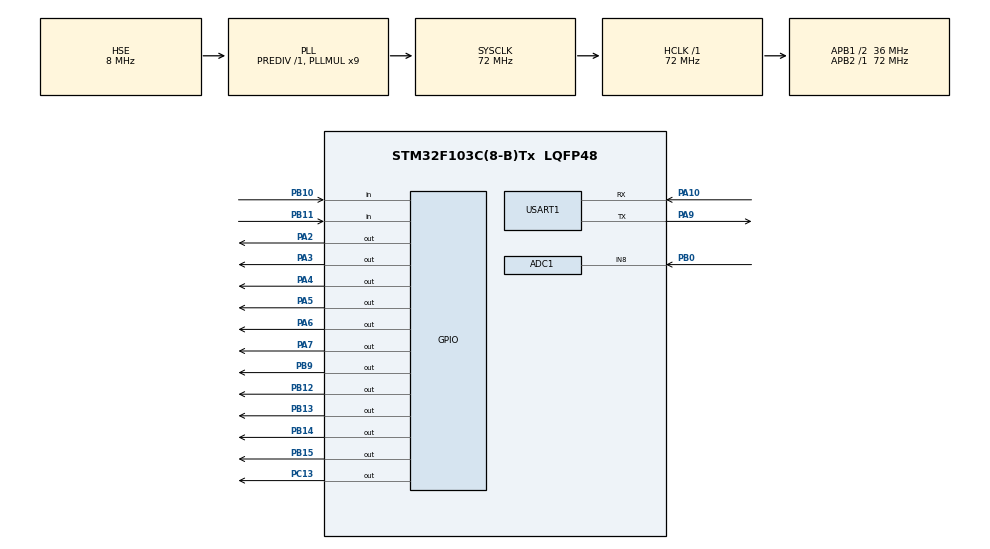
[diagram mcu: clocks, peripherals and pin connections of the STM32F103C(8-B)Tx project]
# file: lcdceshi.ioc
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ADC1.Channel-0\#ChannelRegularConversion=ADC_CHANNEL_8
ADC1.ContinuousConvMode=ENABLE
ADC1.NbrOfConversionFlag=1
ADC1.Rank-0\#ChannelRegularConversion=1
ADC1.SamplingTime-0\#ChannelRegularConversion=ADC_SAMPLETIME_1CYCLE_5
ADC1.master=1
Mcu.Family=STM32F1
Mcu.Name=STM32F103C(8-B)Tx
Mcu.Package=LQFP48
NVIC.PriorityGroup=NVIC_PRIORITYGROUP_4
NVIC.TIM2_IRQn=true\:0\:0\:false\:false\:true\:true\:true\:true
NVIC.USART1_IRQn=true\:0\:0\:false\:false\:true\:true\:true\:true
PA10.Mode=Asynchronous
PA10.Signal=USART1_RX
PA13.Mode=Serial_Wire
PA13.Signal=SYS_JTMS-SWDIO
PA14.Mode=Serial_Wire
PA14.Signal=SYS_JTCK-SWCLK
PA2.Signal=GPIO_Output
PA3.Signal=GPIO_Output
PA4.Signal=GPIO_Output
PA5.Signal=GPIO_Output
PA6.Signal=GPIO_Output
PA7.Signal=GPIO_Output
PA9.Mode=Asynchronous
PA9.Signal=USART1_TX
PB0.Signal=ADCx_IN8
PB10.Signal=GPIO_Input
PB11.Signal=GPIO_Input
PB12.Signal=GPIO_Output
PB13.Signal=GPIO_Output
PB14.Signal=GPIO_Output
PB15.Signal=GPIO_Output
PB9.Signal=GPIO_Output
PC13-TAMPER-RTC.Signal=GPIO_Output
PD0-OSC_IN.Mode=HSE-External-Oscillator
PD0-OSC_IN.Signal=RCC_OSC_IN
PD1-OSC_OUT.Mode=HSE-External-Oscillator
PD1-OSC_OUT.Signal=RCC_OSC_OUT
ProjectManager.HeapSize=0x200
ProjectManager.StackSize=0x400
ProjectManager.TargetToolchain=STM32CubeIDE
RCC.ADCPresc=RCC_ADCPCLK2_DIV6
RCC.AHBFreq_Value=72000000
RCC.APB1CLKDivider=RCC_HCLK_DIV2
RCC.APB1Freq_Value=36000000
RCC.APB1TimFreq_Value=72000000
RCC.APB2Freq_Value=72000000
RCC.APB2TimFreq_Value=72000000
RCC.HCLKFreq_Value=72000000
RCC.PLLMUL=RCC_PLL_MUL9
RCC.PLLSourceVirtual=RCC_PLLSOURCE_HSE
RCC.SYSCLKFreq_VALUE=72000000
RCC.SYSCLKSource=RCC_SYSCLKSOURCE_PLLCLK
RCC.USBFreq_Value=72000000
SH.ADCx_IN8.0=ADC1_IN8,IN8
TIM2.Prescaler=71
USART1.VirtualMode=VM_ASYNC
VP_TIM2_VS_ClockSourceINT.Mode=Internal
board=custom

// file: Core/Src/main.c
/* USER CODE BEGIN Header */
/**
 ******************************************************************************
 * @file           : main.c
 * @brief          : Main program body
 ******************************************************************************
 * @attention
 *
 * Copyright (c) 2024 STMicroelectronics.
 * All rights reserved.
 *
 * This software is licensed under terms that can be found in the LICENSE file
 * in the root directory of this software component.
 * If no LICENSE file comes with this software, it is provided AS-IS.
 *
 ******************************************************************************
 */
/* USER CODE END Header */
#include "main.h"
#include "adc.h"
#include "tim.h"
#include "usart.h"
#include "gpio.h"

/* USER CODE BEGIN Includes */
#include "../../ECUAL/LCD16X2/LCD16X2.h"
#include <stdlib.h>
#include <stdio.h>
#include <time.h>
#include "string.h"
#include "../../ECUAL/STEPPER/STEPPER.h"
#define MyLCD LCD16X2_1
/* USER CODE END Includes */

/* USER CODE BEGIN PV */
char receiveData[10];
char receivedData[10];
/* USER CODE END PV */

void SystemClock_Config(void);
/* USER CODE BEGIN PFP */
void LED_Toggle(void)
{
  int led_state;
  if (led_state == 0)
  {
    HAL_GPIO_WritePin(GPIOC, GPIO_PIN_13, GPIO_PIN_RESET); // ??LED(PB15????)
    led_state = 1;
  }
  else
  {
    HAL_GPIO_WritePin(GPIOC, GPIO_PIN_13, GPIO_PIN_SET); // ??LED(PB15????)
    led_state = 0;
  }
}
/* USER CODE END PFP */

/* USER CODE BEGIN 0 */
/* void HAL_UART_RxCpltCallback(UART_HandleTypeDef *huart)
{

    strcpy(receiveData, receivedData);

       LCD16X2_Set_Cursor(MyLCD, 1, 14);
      LCD16X2_Write_String(MyLCD, "c");
        // 处理接收到的数据
        // 例如，将接收到的数据存储到缓冲区
        // 并启动下一次接收中断
        HAL_UART_Receive_IT(&huart1, (uint8_t *)receivedData, sizeof(receivedData));

} */
/* USER CODE END 0 */

int main(void)
{
  /* USER CODE BEGIN 1 */
  uint16_t AD_RES = 0;
  uint16_t last_AD_RES = 0;
  uint8_t Stepper1_Dir = 0;
  /* USER CODE END 1 */

  /* MCU Configuration--------------------------------------------------------*/

  /* Reset of all peripherals, Initializes the Flash interface and the Systick. */
  HAL_Init();

  /* Configure the system clock */
  SystemClock_Config();

  /* Initialize all configured peripherals */
  MX_GPIO_Init();
  MX_ADC1_Init();
  MX_TIM2_Init();
  MX_USART1_UART_Init();
  /* USER CODE BEGIN 2 */
  // 初始化步进电机
  STEPPERS_Init();
  STEPPER_SetSpeed(0, 14); // 设置步进电机速度

  LCD16X2_Init(MyLCD);
  LCD16X2_Clear(MyLCD);
  int value = 0;
  float measuredValue;  // 测量到的值
  measuredValue = 0.0f; // 初始化变量
  float voltage = 0.00;
  int alarm_active = 0;  // �Ƿ񱨾�״̬   0 for paused, 1 for active
  int led_state = 0;     // LED��״̬  0 for OFF, 1 for ON
  int system_active = 1; // ϵͳ��������ͣ��1 for running,0 for stopped
  float alarm_value_high = 2.00;
  float alarm_value_low = 1.00;
  int loop_counter = 0;
  receiveData[0] = 'k';
 receiveData[1] = '1';
        receiveData[2] = '1';
        receiveData[3] = '2';
        receiveData[4] = '.';
        receiveData[5] = '3';
        receiveData[6] = '1';
        receiveData[7] = '.';
        receiveData[8] = '4';

  HAL_ADCEx_Calibration_Start(&hadc1);
  HAL_ADC_Start(&hadc1);
  HAL_ADC_PollForConversion(&hadc1, HAL_MAX_DELAY);
     HAL_UART_Receive_IT(&huart1, (uint8_t *)receivedData, strlen(receivedData));

  /* USER CODE END 2 */

  /* Infinite loop */
  /* USER CODE BEGIN WHILE */
  while (1)
  { HAL_UART_Receive(&huart1, (uint8_t *)receiveData, sizeof(receiveData),500);
    system_active = (receiveData[1] == '1') ? 1 : 0;
    alarm_active = (receiveData[2] == '1') ? 1 : 0;

    if (HAL_GPIO_ReadPin(GPIOB, GPIO_PIN_11) == GPIO_PIN_RESET)
    {                    // Check if button is pressed (PB11 is low)
      system_active = 1; // Start the system
    }
    else
    {
      system_active = 0; // Stop the system
    }

    value = HAL_ADC_GetValue(&hadc1);
    measuredValue = (value / 4095.0) * 3.3; // 生成0到3.3之间的电压
    voltage = (value / 4095.0) * 3.3;

    if (HAL_GPIO_ReadPin(GPIOB, GPIO_PIN_10) == GPIO_PIN_RESET) // ????��鱨����PB10
    {
      alarm_active = 1; // ????
    }
    else
    {
      alarm_active = 0; // ????
    }

    char alarmHighStr[3] = {receiveData[3], receiveData[4], receiveData[5]};
    char alarmLowStr[3] = {receiveData[6], receiveData[7], receiveData[8]};

    alarm_value_high = atof(alarmHighStr);
    alarm_value_low = atof(alarmLowStr);
    // ??????2V??????,LED????
    if (system_active)
    { // If system is running

      // If voltage > alarm_value_high||voltage < alarm_value_low, blink the LED
      char uhbuffer[10]; // 3个字符 + 小数点 + 结束符
      char ulbuffer[10]; // 3个字符 + 小数点 + 结束符
      uhbuffer[0] = receiveData[3];
      uhbuffer[1] = '.';
      uhbuffer[2] = receiveData[5];
      uhbuffer[3] = '\0';
      ulbuffer[0] = receiveData[6];
      ulbuffer[1] = '.';
      ulbuffer[2] = receiveData[8];
      ulbuffer[3] = '\0';

      LCD16X2_Set_Cursor(MyLCD, 2, 7);
      LCD16X2_Write_String(MyLCD, "UH");

      LCD16X2_Set_Cursor(MyLCD, 2, 12);
      LCD16X2_Write_String(MyLCD, "UL");
      // 在 LCD 上显示 uhbuffer 和 ulbuffer
      LCD16X2_Set_Cursor(MyLCD, 2, 9);
      LCD16X2_Write_String(MyLCD, uhbuffer);

      LCD16X2_Set_Cursor(MyLCD, 2, 14);
      LCD16X2_Write_String(MyLCD, ulbuffer);
      if (system_active)
      {
        LCD16X2_Set_Cursor(MyLCD, 1, 15);
        LCD16X2_Write_String(MyLCD, "s");
      }
      else
      {
        LCD16X2_Set_Cursor(MyLCD, 1, 15);
        LCD16X2_Write_String(MyLCD, " ");
      }

      if (alarm_active)
      {
        LCD16X2_Set_Cursor(MyLCD, 1, 16);
        LCD16X2_Write_String(MyLCD, "a");
      }
      else
      {
        LCD16X2_Set_Cursor(MyLCD, 1, 16);
        LCD16X2_Write_String(MyLCD, " ");
      }
      HAL_Delay(1);

      LCD16X2_Set_Cursor(MyLCD, 1, 1);
      LCD16X2_Write_String(MyLCD, "U=");

      char buffer[10];
      int intPart = (int)measuredValue;                      // 整数部分
      int fracPart = (int)((measuredValue - intPart) * 100); // 小数部分，保留两位小数

      // 将整数部分转换为字符串
      int i = 0;
      if (intPart == 0)
      {
        buffer[i++] = '0';
      }
      else
      {
        while (intPart > 0)
        {
          buffer[i++] = (intPart % 10) + '0';
          intPart /= 10;
        }
        // 反转整数部分字符串
        for (int j = 0; j < i / 2; j++)
        {
          char temp = buffer[j];
          buffer[j] = buffer[i - j - 1];
          buffer[i - j - 1] = temp;
        }
      }

      buffer[i++] = '.'; // 添加小数点

      // 将小数部分转换为字符串
      buffer[i++] = (fracPart / 10) + '0'; // 十位
      buffer[i++] = (fracPart % 10) + '0'; // 个位

      buffer[i++] = 'V'; // 添加单位 "V"
      buffer[i] = '\0';

      LCD16X2_Set_Cursor(MyLCD, 1, 3);
      LCD16X2_Write_String(MyLCD, buffer);

      LCD16X2_Set_Cursor(MyLCD, 2, 1);
      LCD16X2_Write_String(MyLCD, "A=");
      int angle = value * 180 / 4095;
      char angleBuffer[10];     // 根据需要的大小进行声明
      int angleIntPart = angle; // 整数部分
      int angleIndex = 0;
      if (angleIntPart == 0)
      {
        angleBuffer[angleIndex++] = '0';
      }
      else
      {

        while (angleIntPart > 0)
        {
          angleBuffer[angleIndex++] = (angleIntPart % 10) + '0';
          angleIntPart /= 10;
        }
        // 反转整数部分字符串
        for (int j = 0; j < angleIndex / 2; j++)
        {
          char temp = angleBuffer[j];
          angleBuffer[j] = angleBuffer[angleIndex - j - 1];
          angleBuffer[angleIndex - j - 1] = temp;
        }
      }
      while (angleIndex < 3)
      {
        for (int j = angleIndex; j > 0; j--)
        {
          angleBuffer[j] = angleBuffer[j - 1];
        }
        angleBuffer[0] = '0';
        angleIndex++;
      }
      sprintf(angleBuffer, "%03d", angle);
      /*       char combinedBuffer[15]; // 根据需要调整大小

                // 使用 snprintf 将两个字符串和空格组合在一起
                snprintf(combinedBuffer, sizeof(combinedBuffer), "%s %s", buffer, angleBuffer);

                // 发送组合后的字符串
                HAL_UART_Transmit(&huart1, (uint8_t *)combinedBuffer, strlen(combinedBuffer), 100);
            // 添加字符串结束符 */

      LCD16X2_Set_Cursor(MyLCD, 2, 3);
      LCD16X2_Write_String(MyLCD, angleBuffer);
      LCD16X2_Set_Cursor(MyLCD, 2, 6);
      LCD16X2_Write_String(MyLCD, "d");

      AD_RES = value;

      if (AD_RES > last_AD_RES + 30)
      {
        // 电压变大，顺时针转动
        Stepper1_Dir = 0;
        STEPPER_Step_Blocking(0, (AD_RES - last_AD_RES) / 4, Stepper1_Dir);
      }
      else if (AD_RES < last_AD_RES - 30)
      {
        // 电压变小，逆时针转动
        Stepper1_Dir = 1;
        STEPPER_Step_Blocking(0, (last_AD_RES - AD_RES) / 4, Stepper1_Dir);
      }

      last_AD_RES = AD_RES;

      char valuebuffer[10];
      sprintf(valuebuffer, "%04d", value);
      HAL_UART_Transmit(&huart1, (uint8_t *)valuebuffer, strlen(valuebuffer), 100);

      HAL_Delay(100);

      if (alarm_active)
      {

        // 根据 measuredValue 的值显示 "low!" 或 "high!"
        LCD16X2_Set_Cursor(MyLCD, 1, 9);
        LCD16X2_Write_String(MyLCD, "     ");
        if (measuredValue > alarm_value_high)
        {
          LCD16X2_Set_Cursor(MyLCD, 1, 9);
          LCD16X2_Write_String(MyLCD, "high!");
          HAL_Delay(50);
        }
        else if (measuredValue < alarm_value_low)
        {
          LCD16X2_Set_Cursor(MyLCD, 1, 9);
          LCD16X2_Write_String(MyLCD, "low!!");
          HAL_Delay(50);
        }
        else
        {
          LCD16X2_Set_Cursor(MyLCD, 1, 9);
          LCD16X2_Write_String(MyLCD, "     "); // 清空显示
        }

        if (voltage > alarm_value_high || voltage < alarm_value_low)
        {
          HAL_GPIO_WritePin(GPIOC, GPIO_PIN_13, GPIO_PIN_RESET);  // Toggle LED state
          HAL_Delay(5); // LED on time: 500ms
          HAL_GPIO_WritePin(GPIOC, GPIO_PIN_13, GPIO_PIN_SET);
          HAL_Delay(5);
          HAL_GPIO_WritePin(GPIOC, GPIO_PIN_13, GPIO_PIN_RESET);  // Toggle LED state
          HAL_Delay(5); // LED on time: 500ms
          HAL_GPIO_WritePin(GPIOC, GPIO_PIN_13, GPIO_PIN_SET);
          HAL_Delay(5);HAL_GPIO_WritePin(GPIOC, GPIO_PIN_13, GPIO_PIN_RESET);  // Toggle LED state
          HAL_Delay(5); // LED on time: 500ms
          HAL_GPIO_WritePin(GPIOC, GPIO_PIN_13, GPIO_PIN_SET);
          HAL_Delay(5);
          HAL_GPIO_WritePin(GPIOC, GPIO_PIN_13, GPIO_PIN_RESET);  // Toggle LED state
          HAL_Delay(5); // LED on time: 500ms
          HAL_GPIO_WritePin(GPIOC, GPIO_PIN_13, GPIO_PIN_SET);
          HAL_Delay(5);
        }
        else
        {
          // Ensure LED is off when voltage <= 2.0V or system is not active
          HAL_GPIO_WritePin(GPIOC, GPIO_PIN_13, GPIO_PIN_SET); // Turn off LED (PB15 is high)
        }
      }
      else
      {
        HAL_GPIO_WritePin(GPIOC, GPIO_PIN_13, GPIO_PIN_SET); // Turn off LED (PB15 is high)
      }
    }
    else
    {
      LCD16X2_Set_Cursor(MyLCD, 1, 1);
      LCD16X2_Write_String(MyLCD, "System Stopped");
      // Ensure LED is off when system is not active or alarm is not active
      HAL_GPIO_WritePin(GPIOC, GPIO_PIN_13, GPIO_PIN_SET); // Turn off LED (PB15 is high)
    }

    /* USER CODE END WHILE */

    /* USER CODE BEGIN 3 */
    LCD16X2_Set_Cursor(MyLCD, 1, 8);
    LCD16X2_Write_String(MyLCD, " ");
    LCD16X2_Set_Cursor(MyLCD, 1, 14);
    LCD16X2_Write_String(MyLCD, " ");

    if (loop_counter >= 10)
    {
      LCD16X2_Clear(MyLCD);
      loop_counter = 0; // 重置计数器
    }
    else
    {
      loop_counter++; // 增加计数器
    }
  }
  /* USER CODE END 3 */
}

void SystemClock_Config(void)
{
  RCC_OscInitTypeDef RCC_OscInitStruct = {0};
  RCC_ClkInitTypeDef RCC_ClkInitStruct = {0};
  RCC_PeriphCLKInitTypeDef PeriphClkInit = {0};

  /** Initializes the RCC Oscillators according to the specified parameters
  * in the RCC_OscInitTypeDef structure.
  */
  RCC_OscInitStruct.OscillatorType = RCC_OSCILLATORTYPE_HSE;
  RCC_OscInitStruct.HSEState = RCC_HSE_ON;
  RCC_OscInitStruct.HSEPredivValue = RCC_HSE_PREDIV_DIV1;
  RCC_OscInitStruct.HSIState = RCC_HSI_ON;
  RCC_OscInitStruct.PLL.PLLState = RCC_PLL_ON;
  RCC_OscInitStruct.PLL.PLLSource = RCC_PLLSOURCE_HSE;
  RCC_OscInitStruct.PLL.PLLMUL = RCC_PLL_MUL9;
  if (HAL_RCC_OscConfig(&RCC_OscInitStruct) != HAL_OK)
  {
    Error_Handler();
  }

  /** Initializes the CPU, AHB and APB buses clocks
  */
  RCC_ClkInitStruct.ClockType = RCC_CLOCKTYPE_HCLK|RCC_CLOCKTYPE_SYSCLK
                              |RCC_CLOCKTYPE_PCLK1|RCC_CLOCKTYPE_PCLK2;
  RCC_ClkInitStruct.SYSCLKSource = RCC_SYSCLKSOURCE_PLLCLK;
  RCC_ClkInitStruct.AHBCLKDivider = RCC_SYSCLK_DIV1;
  RCC_ClkInitStruct.APB1CLKDivider = RCC_HCLK_DIV2;
  RCC_ClkInitStruct.APB2CLKDivider = RCC_HCLK_DIV1;

  if (HAL_RCC_ClockConfig(&RCC_ClkInitStruct, FLASH_LATENCY_2) != HAL_OK)
  {
    Error_Handler();
  }
  PeriphClkInit.PeriphClockSelection = RCC_PERIPHCLK_ADC;
  PeriphClkInit.AdcClockSelection = RCC_ADCPCLK2_DIV6;
  if (HAL_RCCEx_PeriphCLKConfig(&PeriphClkInit) != HAL_OK)
  {
    Error_Handler();
  }
}

/* USER CODE BEGIN 4 */
void HAL_TIM_PeriodElapsedCallback(TIM_HandleTypeDef *htim)
{
  STEPPER_TMR_OVF_ISR(htim);
}

/* USER CODE END 4 */

void Error_Handler(void)
{
  __disable_irq();
  while (1)
  {
  }
}
